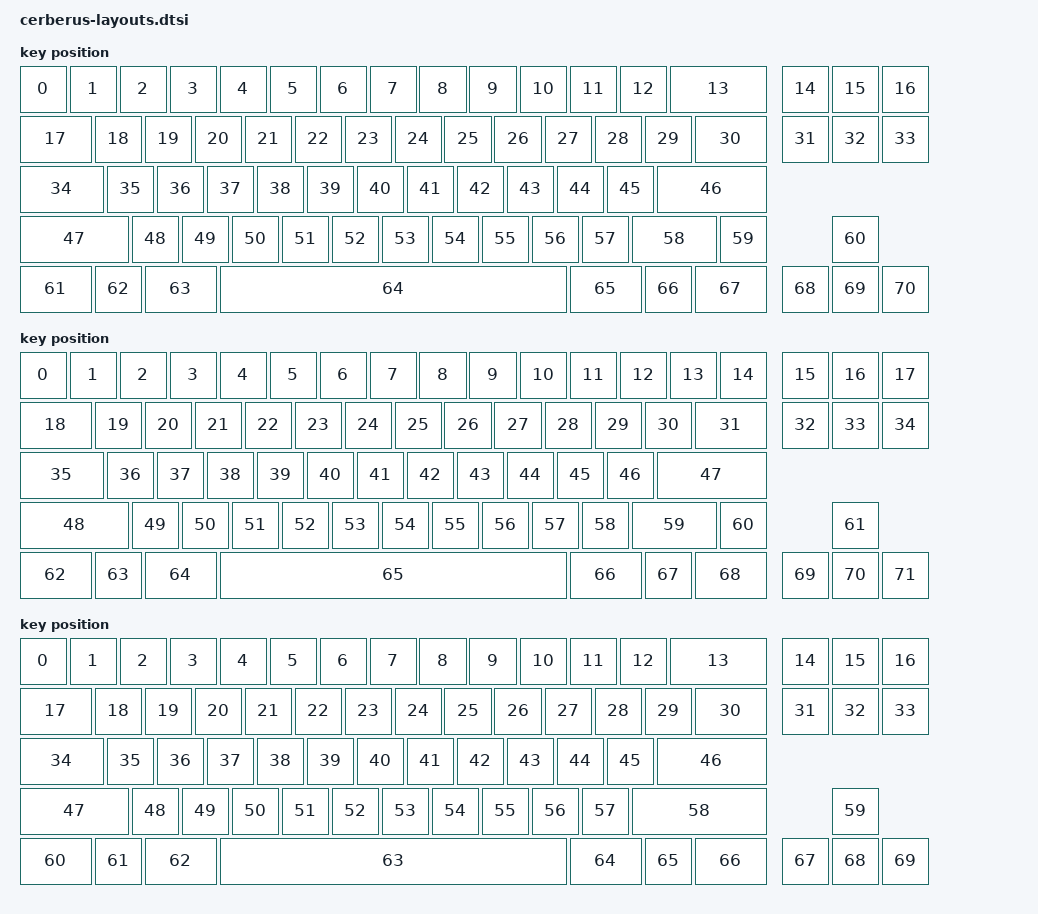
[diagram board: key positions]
#include <physical_layouts.dtsi>

/ {
    physical_layout0: physical_layout_0 {
        compatible = "zmk,physical-layout";
        display-name = "Full BS, Split RShift";

        transform = <&matrix_transform0>;

        keys  //                     w   h    x    y     rot    rx    ry
            = <&key_physical_attrs 100 100    0    0       0     0     0>
            , <&key_physical_attrs 100 100  100    0       0     0     0>
            , <&key_physical_attrs 100 100  200    0       0     0     0>
            , <&key_physical_attrs 100 100  300    0       0     0     0>
            , <&key_physical_attrs 100 100  400    0       0     0     0>
            , <&key_physical_attrs 100 100  500    0       0     0     0>
            , <&key_physical_attrs 100 100  600    0       0     0     0>
            , <&key_physical_attrs 100 100  700    0       0     0     0>
            , <&key_physical_attrs 100 100  800    0       0     0     0>
            , <&key_physical_attrs 100 100  900    0       0     0     0>
            , <&key_physical_attrs 100 100 1000    0       0     0     0>
            , <&key_physical_attrs 100 100 1100    0       0     0     0>
            , <&key_physical_attrs 100 100 1200    0       0     0     0>
            , <&key_physical_attrs 200 100 1300    0       0     0     0>
            , <&key_physical_attrs 100 100 1525    0       0     0     0>
            , <&key_physical_attrs 100 100 1625    0       0     0     0>
            , <&key_physical_attrs 100 100 1725    0       0     0     0>
            , <&key_physical_attrs 150 100    0  100       0     0     0>
            , <&key_physical_attrs 100 100  150  100       0     0     0>
            , <&key_physical_attrs 100 100  250  100       0     0     0>
            , <&key_physical_attrs 100 100  350  100       0     0     0>
            , <&key_physical_attrs 100 100  450  100       0     0     0>
            , <&key_physical_attrs 100 100  550  100       0     0     0>
            , <&key_physical_attrs 100 100  650  100       0     0     0>
            , <&key_physical_attrs 100 100  750  100       0     0     0>
            , <&key_physical_attrs 100 100  850  100       0     0     0>
            , <&key_physical_attrs 100 100  950  100       0     0     0>
            , <&key_physical_attrs 100 100 1050  100       0     0     0>
            , <&key_physical_attrs 100 100 1150  100       0     0     0>
            , <&key_physical_attrs 100 100 1250  100       0     0     0>
            , <&key_physical_attrs 150 100 1350  100       0     0     0>
            , <&key_physical_attrs 100 100 1525  100       0     0     0>
            , <&key_physical_attrs 100 100 1625  100       0     0     0>
            , <&key_physical_attrs 100 100 1725  100       0     0     0>
            , <&key_physical_attrs 175 100    0  200       0     0     0>
            , <&key_physical_attrs 100 100  175  200       0     0     0>
            , <&key_physical_attrs 100 100  275  200       0     0     0>
            , <&key_physical_attrs 100 100  375  200       0     0     0>
            , <&key_physical_attrs 100 100  475  200       0     0     0>
            , <&key_physical_attrs 100 100  575  200       0     0     0>
            , <&key_physical_attrs 100 100  675  200       0     0     0>
            , <&key_physical_attrs 100 100  775  200       0     0     0>
            , <&key_physical_attrs 100 100  875  200       0     0     0>
            , <&key_physical_attrs 100 100  975  200       0     0     0>
            , <&key_physical_attrs 100 100 1075  200       0     0     0>
            , <&key_physical_attrs 100 100 1175  200       0     0     0>
            , <&key_physical_attrs 225 100 1275  200       0     0     0>
            , <&key_physical_attrs 225 100    0  300       0     0     0>
            , <&key_physical_attrs 100 100  225  300       0     0     0>
            , <&key_physical_attrs 100 100  325  300       0     0     0>
            , <&key_physical_attrs 100 100  425  300       0     0     0>
            , <&key_physical_attrs 100 100  525  300       0     0     0>
            , <&key_physical_attrs 100 100  625  300       0     0     0>
            , <&key_physical_attrs 100 100  725  300       0     0     0>
            , <&key_physical_attrs 100 100  825  300       0     0     0>
            , <&key_physical_attrs 100 100  925  300       0     0     0>
            , <&key_physical_attrs 100 100 1025  300       0     0     0>
            , <&key_physical_attrs 100 100 1125  300       0     0     0>
            , <&key_physical_attrs 175 100 1225  300       0     0     0>
            , <&key_physical_attrs 100 100 1400  300       0     0     0>
            , <&key_physical_attrs 100 100 1625  300       0     0     0>
            , <&key_physical_attrs 150 100    0  400       0     0     0>
            , <&key_physical_attrs 100 100  150  400       0     0     0>
            , <&key_physical_attrs 150 100  250  400       0     0     0>
            , <&key_physical_attrs 700 100  400  400       0     0     0>
            , <&key_physical_attrs 150 100 1100  400       0     0     0>
            , <&key_physical_attrs 100 100 1250  400       0     0     0>
            , <&key_physical_attrs 150 100 1350  400       0     0     0>
            , <&key_physical_attrs 100 100 1525  400       0     0     0>
            , <&key_physical_attrs 100 100 1625  400       0     0     0>
            , <&key_physical_attrs 100 100 1725  400       0     0     0>
            ;
    };

    physical_layout1: physical_layout_1 {
        compatible = "zmk,physical-layout";
        display-name = "Split BS, Split RShift";

        transform = <&matrix_transform1>;

        keys  //                     w   h    x    y     rot    rx    ry
            = <&key_physical_attrs 100 100    0    0       0     0     0>
            , <&key_physical_attrs 100 100  100    0       0     0     0>
            , <&key_physical_attrs 100 100  200    0       0     0     0>
            , <&key_physical_attrs 100 100  300    0       0     0     0>
            , <&key_physical_attrs 100 100  400    0       0     0     0>
            , <&key_physical_attrs 100 100  500    0       0     0     0>
            , <&key_physical_attrs 100 100  600    0       0     0     0>
            , <&key_physical_attrs 100 100  700    0       0     0     0>
            , <&key_physical_attrs 100 100  800    0       0     0     0>
            , <&key_physical_attrs 100 100  900    0       0     0     0>
            , <&key_physical_attrs 100 100 1000    0       0     0     0>
            , <&key_physical_attrs 100 100 1100    0       0     0     0>
            , <&key_physical_attrs 100 100 1200    0       0     0     0>
            , <&key_physical_attrs 100 100 1300    0       0     0     0>
            , <&key_physical_attrs 100 100 1400    0       0     0     0>
            , <&key_physical_attrs 100 100 1525    0       0     0     0>
            , <&key_physical_attrs 100 100 1625    0       0     0     0>
            , <&key_physical_attrs 100 100 1725    0       0     0     0>
            , <&key_physical_attrs 150 100    0  100       0     0     0>
            , <&key_physical_attrs 100 100  150  100       0     0     0>
            , <&key_physical_attrs 100 100  250  100       0     0     0>
            , <&key_physical_attrs 100 100  350  100       0     0     0>
            , <&key_physical_attrs 100 100  450  100       0     0     0>
            , <&key_physical_attrs 100 100  550  100       0     0     0>
            , <&key_physical_attrs 100 100  650  100       0     0     0>
            , <&key_physical_attrs 100 100  750  100       0     0     0>
            , <&key_physical_attrs 100 100  850  100       0     0     0>
            , <&key_physical_attrs 100 100  950  100       0     0     0>
            , <&key_physical_attrs 100 100 1050  100       0     0     0>
            , <&key_physical_attrs 100 100 1150  100       0     0     0>
            , <&key_physical_attrs 100 100 1250  100       0     0     0>
            , <&key_physical_attrs 150 100 1350  100       0     0     0>
            , <&key_physical_attrs 100 100 1525  100       0     0     0>
            , <&key_physical_attrs 100 100 1625  100       0     0     0>
            , <&key_physical_attrs 100 100 1725  100       0     0     0>
            , <&key_physical_attrs 175 100    0  200       0     0     0>
            , <&key_physical_attrs 100 100  175  200       0     0     0>
            , <&key_physical_attrs 100 100  275  200       0     0     0>
            , <&key_physical_attrs 100 100  375  200       0     0     0>
            , <&key_physical_attrs 100 100  475  200       0     0     0>
            , <&key_physical_attrs 100 100  575  200       0     0     0>
            , <&key_physical_attrs 100 100  675  200       0     0     0>
            , <&key_physical_attrs 100 100  775  200       0     0     0>
            , <&key_physical_attrs 100 100  875  200       0     0     0>
            , <&key_physical_attrs 100 100  975  200       0     0     0>
            , <&key_physical_attrs 100 100 1075  200       0     0     0>
            , <&key_physical_attrs 100 100 1175  200       0     0     0>
            , <&key_physical_attrs 225 100 1275  200       0     0     0>
            , <&key_physical_attrs 225 100    0  300       0     0     0>
            , <&key_physical_attrs 100 100  225  300       0     0     0>
            , <&key_physical_attrs 100 100  325  300       0     0     0>
            , <&key_physical_attrs 100 100  425  300       0     0     0>
            , <&key_physical_attrs 100 100  525  300       0     0     0>
            , <&key_physical_attrs 100 100  625  300       0     0     0>
            , <&key_physical_attrs 100 100  725  300       0     0     0>
            , <&key_physical_attrs 100 100  825  300       0     0     0>
            , <&key_physical_attrs 100 100  925  300       0     0     0>
            , <&key_physical_attrs 100 100 1025  300       0     0     0>
            , <&key_physical_attrs 100 100 1125  300       0     0     0>
            , <&key_physical_attrs 175 100 1225  300       0     0     0>
            , <&key_physical_attrs 100 100 1400  300       0     0     0>
            , <&key_physical_attrs 100 100 1625  300       0     0     0>
            , <&key_physical_attrs 150 100    0  400       0     0     0>
            , <&key_physical_attrs 100 100  150  400       0     0     0>
            , <&key_physical_attrs 150 100  250  400       0     0     0>
            , <&key_physical_attrs 700 100  400  400       0     0     0>
            , <&key_physical_attrs 150 100 1100  400       0     0     0>
            , <&key_physical_attrs 100 100 1250  400       0     0     0>
            , <&key_physical_attrs 150 100 1350  400       0     0     0>
            , <&key_physical_attrs 100 100 1525  400       0     0     0>
            , <&key_physical_attrs 100 100 1625  400       0     0     0>
            , <&key_physical_attrs 100 100 1725  400       0     0     0>
            ;
    };

    physical_layout2: physical_layout_2 {
        compatible = "zmk,physical-layout";
        display-name = "Full BS, Full RShift";

        transform = <&matrix_transform2>;

        keys  //                     w   h    x    y     rot    rx    ry
            = <&key_physical_attrs 100 100    0    0       0     0     0>
            , <&key_physical_attrs 100 100  100    0       0     0     0>
            , <&key_physical_attrs 100 100  200    0       0     0     0>
            , <&key_physical_attrs 100 100  300    0       0     0     0>
            , <&key_physical_attrs 100 100  400    0       0     0     0>
            , <&key_physical_attrs 100 100  500    0       0     0     0>
            , <&key_physical_attrs 100 100  600    0       0     0     0>
            , <&key_physical_attrs 100 100  700    0       0     0     0>
            , <&key_physical_attrs 100 100  800    0       0     0     0>
            , <&key_physical_attrs 100 100  900    0       0     0     0>
            , <&key_physical_attrs 100 100 1000    0       0     0     0>
            , <&key_physical_attrs 100 100 1100    0       0     0     0>
            , <&key_physical_attrs 100 100 1200    0       0     0     0>
            , <&key_physical_attrs 200 100 1300    0       0     0     0>
            , <&key_physical_attrs 100 100 1525    0       0     0     0>
            , <&key_physical_attrs 100 100 1625    0       0     0     0>
            , <&key_physical_attrs 100 100 1725    0       0     0     0>
            , <&key_physical_attrs 150 100    0  100       0     0     0>
            , <&key_physical_attrs 100 100  150  100       0     0     0>
            , <&key_physical_attrs 100 100  250  100       0     0     0>
            , <&key_physical_attrs 100 100  350  100       0     0     0>
            , <&key_physical_attrs 100 100  450  100       0     0     0>
            , <&key_physical_attrs 100 100  550  100       0     0     0>
            , <&key_physical_attrs 100 100  650  100       0     0     0>
            , <&key_physical_attrs 100 100  750  100       0     0     0>
            , <&key_physical_attrs 100 100  850  100       0     0     0>
            , <&key_physical_attrs 100 100  950  100       0     0     0>
            , <&key_physical_attrs 100 100 1050  100       0     0     0>
            , <&key_physical_attrs 100 100 1150  100       0     0     0>
            , <&key_physical_attrs 100 100 1250  100       0     0     0>
            , <&key_physical_attrs 150 100 1350  100       0     0     0>
            , <&key_physical_attrs 100 100 1525  100       0     0     0>
            , <&key_physical_attrs 100 100 1625  100       0     0     0>
            , <&key_physical_attrs 100 100 1725  100       0     0     0>
            , <&key_physical_attrs 175 100    0  200       0     0     0>
            , <&key_physical_attrs 100 100  175  200       0     0     0>
            , <&key_physical_attrs 100 100  275  200       0     0     0>
            , <&key_physical_attrs 100 100  375  200       0     0     0>
            , <&key_physical_attrs 100 100  475  200       0     0     0>
            , <&key_physical_attrs 100 100  575  200       0     0     0>
            , <&key_physical_attrs 100 100  675  200       0     0     0>
            , <&key_physical_attrs 100 100  775  200       0     0     0>
            , <&key_physical_attrs 100 100  875  200       0     0     0>
            , <&key_physical_attrs 100 100  975  200       0     0     0>
            , <&key_physical_attrs 100 100 1075  200       0     0     0>
            , <&key_physical_attrs 100 100 1175  200       0     0     0>
            , <&key_physical_attrs 225 100 1275  200       0     0     0>
            , <&key_physical_attrs 225 100    0  300       0     0     0>
            , <&key_physical_attrs 100 100  225  300       0     0     0>
            , <&key_physical_attrs 100 100  325  300       0     0     0>
            , <&key_physical_attrs 100 100  425  300       0     0     0>
            , <&key_physical_attrs 100 100  525  300       0     0     0>
            , <&key_physical_attrs 100 100  625  300       0     0     0>
            , <&key_physical_attrs 100 100  725  300       0     0     0>
            , <&key_physical_attrs 100 100  825  300       0     0     0>
            , <&key_physical_attrs 100 100  925  300       0     0     0>
            , <&key_physical_attrs 100 100 1025  300       0     0     0>
            , <&key_physical_attrs 100 100 1125  300       0     0     0>
            , <&key_physical_attrs 275 100 1225  300       0     0     0>
            , <&key_physical_attrs 100 100 1625  300       0     0     0>
            , <&key_physical_attrs 150 100    0  400       0     0     0>
            , <&key_physical_attrs 100 100  150  400       0     0     0>
            , <&key_physical_attrs 150 100  250  400       0     0     0>
            , <&key_physical_attrs 700 100  400  400       0     0     0>
            , <&key_physical_attrs 150 100 1100  400       0     0     0>
            , <&key_physical_attrs 100 100 1250  400       0     0     0>
            , <&key_physical_attrs 150 100 1350  400       0     0     0>
            , <&key_physical_attrs 100 100 1525  400       0     0     0>
            , <&key_physical_attrs 100 100 1625  400       0     0     0>
            , <&key_physical_attrs 100 100 1725  400       0     0     0>
            ;
    };

    physical_layout3: physical_layout_3 {
        compatible = "zmk,physical-layout";
        display-name = "Split BS, Full RShift";

        transform = <&matrix_transform3>;

        keys  //                     w   h    x    y     rot    rx    ry
            = <&key_physical_attrs 100 100    0    0       0     0     0>
            , <&key_physical_attrs 100 100  100    0       0     0     0>
            , <&key_physical_attrs 100 100  200    0       0     0     0>
            , <&key_physical_attrs 100 100  300    0       0     0     0>
            , <&key_physical_attrs 100 100  400    0       0     0     0>
            , <&key_physical_attrs 100 100  500    0       0     0     0>
            , <&key_physical_attrs 100 100  600    0       0     0     0>
            , <&key_physical_attrs 100 100  700    0       0     0     0>
            , <&key_physical_attrs 100 100  800    0       0     0     0>
            , <&key_physical_attrs 100 100  900    0       0     0     0>
            , <&key_physical_attrs 100 100 1000    0       0     0     0>
            , <&key_physical_attrs 100 100 1100    0       0     0     0>
            , <&key_physical_attrs 100 100 1200    0       0     0     0>
            , <&key_physical_attrs 100 100 1300    0       0     0     0>
            , <&key_physical_attrs 100 100 1400    0       0     0     0>
            , <&key_physical_attrs 100 100 1525    0       0     0     0>
            , <&key_physical_attrs 100 100 1625    0       0     0     0>
            , <&key_physical_attrs 100 100 1725    0       0     0     0>
            , <&key_physical_attrs 150 100    0  100       0     0     0>
            , <&key_physical_attrs 100 100  150  100       0     0     0>
            , <&key_physical_attrs 100 100  250  100       0     0     0>
            , <&key_physical_attrs 100 100  350  100       0     0     0>
            , <&key_physical_attrs 100 100  450  100       0     0     0>
            , <&key_physical_attrs 100 100  550  100       0     0     0>
            , <&key_physical_attrs 100 100  650  100       0     0     0>
            , <&key_physical_attrs 100 100  750  100       0     0     0>
            , <&key_physical_attrs 100 100  850  100       0     0     0>
            , <&key_physical_attrs 100 100  950  100       0     0     0>
            , <&key_physical_attrs 100 100 1050  100       0     0     0>
            , <&key_physical_attrs 100 100 1150  100       0     0     0>
            , <&key_physical_attrs 100 100 1250  100       0     0     0>
            , <&key_physical_attrs 150 100 1350  100       0     0     0>
            , <&key_physical_attrs 100 100 1525  100       0     0     0>
            , <&key_physical_attrs 100 100 1625  100       0     0     0>
            , <&key_physical_attrs 100 100 1725  100       0     0     0>
            , <&key_physical_attrs 175 100    0  200       0     0     0>
            , <&key_physical_attrs 100 100  175  200       0     0     0>
            , <&key_physical_attrs 100 100  275  200       0     0     0>
            , <&key_physical_attrs 100 100  375  200       0     0     0>
            , <&key_physical_attrs 100 100  475  200       0     0     0>
            , <&key_physical_attrs 100 100  575  200       0     0     0>
            , <&key_physical_attrs 100 100  675  200       0     0     0>
            , <&key_physical_attrs 100 100  775  200       0     0     0>
            , <&key_physical_attrs 100 100  875  200       0     0     0>
            , <&key_physical_attrs 100 100  975  200       0     0     0>
            , <&key_physical_attrs 100 100 1075  200       0     0     0>
            , <&key_physical_attrs 100 100 1175  200       0     0     0>
            , <&key_physical_attrs 225 100 1275  200       0     0     0>
            , <&key_physical_attrs 225 100    0  300       0     0     0>
            , <&key_physical_attrs 100 100  225  300       0     0     0>
            , <&key_physical_attrs 100 100  325  300       0     0     0>
            , <&key_physical_attrs 100 100  425  300       0     0     0>
            , <&key_physical_attrs 100 100  525  300       0     0     0>
            , <&key_physical_attrs 100 100  625  300       0     0     0>
            , <&key_physical_attrs 100 100  725  300       0     0     0>
            , <&key_physical_attrs 100 100  825  300       0     0     0>
            , <&key_physical_attrs 100 100  925  300       0     0     0>
            , <&key_physical_attrs 100 100 1025  300       0     0     0>
            , <&key_physical_attrs 100 100 1125  300       0     0     0>
            , <&key_physical_attrs 275 100 1225  300       0     0     0>
            , <&key_physical_attrs 100 100 1625  300       0     0     0>
            , <&key_physical_attrs 150 100    0  400       0     0     0>
            , <&key_physical_attrs 100 100  150  400       0     0     0>
            , <&key_physical_attrs 150 100  250  400       0     0     0>
            , <&key_physical_attrs 700 100  400  400       0     0     0>
            , <&key_physical_attrs 150 100 1100  400       0     0     0>
            , <&key_physical_attrs 100 100 1250  400       0     0     0>
            , <&key_physical_attrs 150 100 1350  400       0     0     0>
            , <&key_physical_attrs 100 100 1525  400       0     0     0>
            , <&key_physical_attrs 100 100 1625  400       0     0     0>
            , <&key_physical_attrs 100 100 1725  400       0     0     0>
            ;
    };
    position_map {
        compatible = "zmk,physical-layout-position-map";

        physical_layout0 {
            physical-layout = <&physical_layout0>;
            positions = <13 71 58 59>;
        };

        physical_layout1 {
            physical-layout = <&physical_layout1>;
            positions = <13 14 59 60>;
        };

        physical_layout2 {
            physical-layout = <&physical_layout2>;
            positions = <13 70 58 71>;
        };

        physical_layout3 {
            physical-layout = <&physical_layout3>;
            positions = <13 14 59 71>;
        };
    };
};
